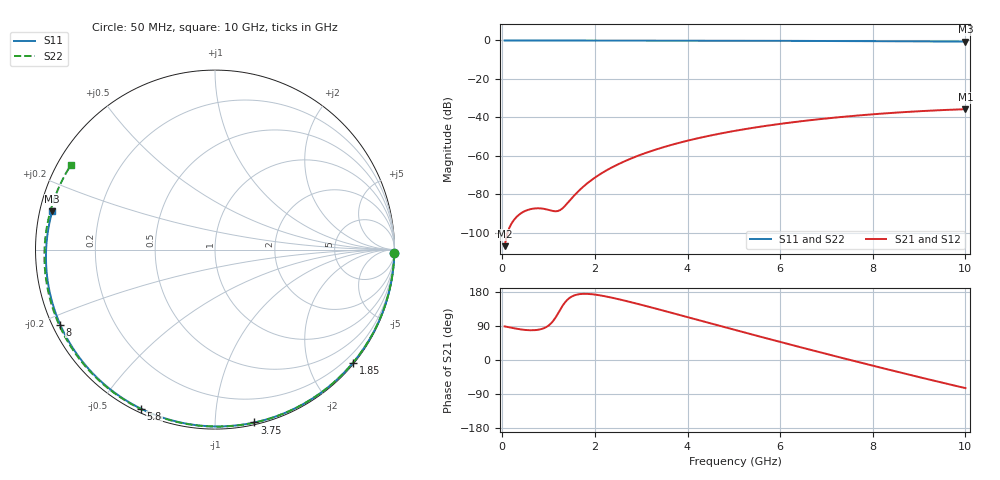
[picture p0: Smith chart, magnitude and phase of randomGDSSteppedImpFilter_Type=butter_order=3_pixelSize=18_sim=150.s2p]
! freq	dB(S11)	phase(S11)	dB(S12)	phase(S12)
!  dB(S21)	phase(S21)	dB(S22)	phase(S22)
!S-par simulation data
#  GHz  S  DB  R 50
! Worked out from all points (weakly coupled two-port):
!   200 points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, 50 MHz to 10 GHz, reference 50 ohm
!   highest |S21| = -35.79 dB at 10 GHz (marker M1); lowest = -107.1 dB at 50 MHz (marker M2)
!   lowest |S11| = -0.6 dB at 10 GHz (marker M3), VSWR 28.20, Z = 1.8 + j5.77 ohm
!   |S11| at or under -10 dB: nowhere
!   |S22| runs from -0.6 to 0.0 dB; largest |S21 - S12| = 0
!   S11 on the Smith chart (normalised r, x): 50 MHz: open; 1.85 GHz: 0.03, -2.80; 3.75 GHz: 0.02, -1.25; 5.8 GHz: 0.02, -0.64; 8 GHz: 0.02, -0.23; 10 GHz: 0.04, +0.12
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0.05  -0.00 -1.0  -107.09 88.7  -107.09 88.7  -0.00 -1.2
0.45  -0.01 -9.7  -89.29 79.9  -89.29 79.9  -0.02 -11.0
0.8  -0.02 -17.2  -87.39 80.4  -87.39 80.4  -0.03 -19.5
1.55  -0.04 -33.1  -80.81 170.3  -80.81 170.3  -0.05 -37.4
1.6  -0.04 -34.1  -79.53 172.2  -79.53 172.2  -0.05 -38.5
1.75  -0.05 -37.2  -76.09 174.6  -76.09 174.6  -0.05 -42.0
1.85  -0.05 -39.3  -74.08 174.4  -74.08 174.4  -0.06 -44.4
2.15  -0.06 -45.5  -69.05 169.8  -69.05 169.8  -0.07 -51.3
2.5  -0.07 -52.6  -64.48 160.8  -64.48 160.8  -0.08 -59.2
2.9  -0.08 -60.6  -60.31 148.8  -60.31 148.8  -0.09 -68.0
3.4  -0.09 -70.4  -56.15 132.9  -56.15 132.9  -0.10 -78.8
3.75  -0.10 -77.1  -53.72 121.4  -53.72 121.4  -0.12 -86.2
4.4  -0.13 -89.4  -49.97 99.9  -49.97 99.9  -0.14 -99.6
5.05  -0.16 -101.4  -46.93 78.5  -46.93 78.5  -0.17 -112.5
5.8  -0.20 -114.9  -44.09 54.1  -44.09 54.1  -0.21 -127.1
6.7  -0.26 -130.9  -41.37 25.4  -41.37 25.4  -0.27 -144.2
7.35  -0.31 -142.4  -39.78 5.1  -39.78 5.1  -0.33 -156.6
8  -0.37 -154.2  -38.44 -15.0  -38.44 -15.0  -0.39 -169.1
8.35  -0.41 -160.6  -37.82 -25.6  -37.82 -25.6  -0.42 -176.0
8.8  -0.46 -169.1  -37.12 -39.2  -37.12 -39.2  -0.47 175.0
9.2  -0.51 -176.8  -36.59 -51.0  -36.59 -51.0  -0.52 166.8
10  -0.62 166.8  -35.79 -74.2  -35.79 -74.2  -0.62 149.5
